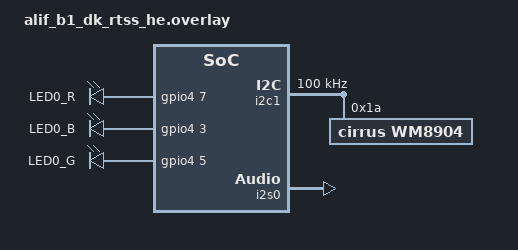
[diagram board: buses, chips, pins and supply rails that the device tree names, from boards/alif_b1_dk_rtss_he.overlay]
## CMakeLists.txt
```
# Copyright (C) 2025 Alif Semiconductor - All Rights Reserved.
# Use, distribution and modification of this code is permitted under the
# terms stated in the Alif Semiconductor Software License Agreement
#
# You should have received a copy of the Alif Semiconductor Software
# License Agreement with this file. If not, please write to:
# contact@alifsemi.com, or visit: https://alifsemi.com/license

cmake_minimum_required(VERSION 3.20.0)
find_package(Zephyr REQUIRED HINTS $ENV{ZEPHYR_BASE})
project(le_audio_unicast_source)

target_sources(app PRIVATE
    src/main.c
    src/unicast_source.c
    src/storage.c
    src/audio_datapath.c
    src/scan.c
)
```

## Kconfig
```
# Copyright (C) 2025 Alif Semiconductor - All Rights Reserved.
# Use, distribution and modification of this code is permitted under the
# terms stated in the Alif Semiconductor Software License Agreement
#
# You should have received a copy of the Alif Semiconductor Software
# License Agreement with this file. If not, please write to:
# contact@alifsemi.com, or visit: https://alifsemi.com/license

menu "Alif Bluetooth LE Audio Unicast Source"

config BLE_DEVICE_NAME
	string "BLE device name"
	default "ALIF_CIS_SRC"
	help
	  Device name

config PERIPHERAL_NAME
	string "LE audio peripheral name"
	default "ALIF_CIS_SINK"
	help
	  Audio sink peripheral to be connected to

config LE_AUDIO_PRESENTATION_DELAY_MS
	int "Presentation delay in ms"
	default 10
	help
	  LE audio preferred target presentation delay in ms. This is only the
	  target value and the final presentation delay may be different due
	  to the reported min and max values by the acceptor (server).

choice
	prompt "Choose audio target latency"
	default LE_AUDIO_LATENCY_RELIABLE

	config LE_AUDIO_LATENCY_LOWER
	bool "Lower latency"
	config LE_AUDIO_LATENCY_BALANCED
	bool "Balanced latency and reliability"
	config LE_AUDIO_LATENCY_RELIABLE
	bool "Reliable latency"
endchoice

config LE_AUDIO_TARGET_LATENCY
	int
	range 1 3
	default 1 if LE_AUDIO_LATENCY_LOWER
	default 2 if LE_AUDIO_LATENCY_BALANCED
	default 3 if LE_AUDIO_LATENCY_RELIABLE

choice
	prompt "Choose audio configuration"
	default LE_AUDIO_UNIDIRECTIONAL

	config LE_AUDIO_UNIDIRECTIONAL
	bool "Unidirectional"
	config LE_AUDIO_BIDIRECTIONAL
	bool "Bidirectional"
endchoice

config BONDING_ALLOWED
	bool "Allow bonding"
	default y

config NUMBER_OF_CLIENTS
	int
	range 1 4
	default 2
	help
	  Number of clients to be connected

menu "Logging"

module = MAIN
module-str = main
source "subsys/logging/Kconfig.template.log_config"

module = UNICAST_SCAN
module-str = unicast_scan
source "subsys/logging/Kconfig.template.log_config"

module = UNICAST_SOURCE
module-str = unicast_source
source "subsys/logging/Kconfig.template.log_config"

module = STORAGE
module-str = storage
source "subsys/logging/Kconfig.template.log_config"

endmenu # "Logging"

endmenu # "Alif Bluetooth LE Audio Unicast Source"

source "Kconfig.zephyr"
```

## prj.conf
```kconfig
# Copyright (C) 2025 Alif Semiconductor - All Rights Reserved.
# Use, distribution and modification of this code is permitted under the
# terms stated in the Alif Semiconductor Software License Agreement
#
# You should have received a copy of the Alif Semiconductor Software
# License Agreement with this file. If not, please write to:
# contact@alifsemi.com, or visit: https://alifsemi.com/license

CONFIG_BT=y
CONFIG_BT_CUSTOM=y
CONFIG_ALIF_ROM_LC3_CODEC=y
CONFIG_ALIF_BLE_AUDIO=y

CONFIG_LOG=y
CONFIG_ASSERT=y

CONFIG_PRESENTATION_COMPENSATION_DIRECTION_SOURCE=y

# Should be replaced by TRNG when support is available
CONFIG_ENTROPY_GENERATOR=y
CONFIG_TEST_RANDOM_GENERATOR=y

# malloc support is required, simplest way is using newlib although it would also be possible to
# configure heap for picolibc
CONFIG_NEWLIB_LIBC=y

# Driver support for audio
CONFIG_I2S=y
CONFIG_DMA=y

# Audio driver support specific to B1 DK board.
# Audio codec is WM8904, connected via I2C.
CONFIG_I2C=y
CONFIG_WM8904=y
CONFIG_AUDIO=y
CONFIG_AUDIO_CODEC=y
CONFIG_I2C_INIT_PRIORITY=50
CONFIG_WM8904_INIT_PRIORITY=53

# This is specific to whichever clock you use. Currently presentation layer is
# commented out so this does nothing
CONFIG_AUDIO_CLOCK_DIVIDER=1

# Debug
CONFIG_USE_SEGGER_RTT=y
CONFIG_RTT_CONSOLE=y

CONFIG_MAIN_STACK_SIZE=8192
CONFIG_ISR_STACK_SIZE=4096
CONFIG_PRIVILEGED_STACK_SIZE=2048
CONFIG_IDLE_STACK_SIZE=1024
CONFIG_BOOT_BANNER=n
CONFIG_ALIF_BLE_HOST_ADDL_PRF_HEAPSIZE=10240
CONFIG_ALIF_BLE_HOST_ADDL_ENV_HEAPSIZE=8192

# Enable NVS as the backend for Settings
CONFIG_NVS=y
# Enable the Settings subsystem
CONFIG_SETTINGS=y
CONFIG_SETTINGS_NVS=y
CONFIG_SETTINGS_RUNTIME=y
CONFIG_MPU_ALLOW_FLASH_WRITE=y
CONFIG_FLASH=y
CONFIG_FLASH_MAP=y

CONFIG_LE_AUDIO_LATENCY_RELIABLE=y
CONFIG_LE_AUDIO_PRESENTATION_DELAY_MS=30

# For MRAM(XIP) builds with LLVM exception tables cause linker errors as part of the code is placed to TCM
CONFIG_EXCEPTIONS=n
```

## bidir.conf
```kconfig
# Copyright (C) 2025 Alif Semiconductor - All Rights Reserved.
# Use, distribution and modification of this code is permitted under the
# terms stated in the Alif Semiconductor Software License Agreement
#
# You should have received a copy of the Alif Semiconductor Software
# License Agreement with this file. If not, please write to:
# contact@alifsemi.com, or visit: https://alifsemi.com/license

CONFIG_LE_AUDIO_BIDIRECTIONAL=y
```

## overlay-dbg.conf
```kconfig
# Copyright (C) 2025 Alif Semiconductor - All Rights Reserved.
# Use, distribution and modification of this code is permitted under the
# terms stated in the Alif Semiconductor Software License Agreement
#
# You should have received a copy of the Alif Semiconductor Software
# License Agreement with this file. If not, please write to:
# contact@alifsemi.com, or visit: https://alifsemi.com/license

# CONFIG_LOG_MODE_IMMEDIATE=y

# ===============================================
# threads debug
CONFIG_THREAD_NAME=y
CONFIG_THREAD_ANALYZER=y
CONFIG_THREAD_ANALYZER_USE_PRINTK=y
CONFIG_THREAD_ANALYZER_AUTO=y
CONFIG_THREAD_ANALYZER_AUTO_INTERVAL=5

# ===============================================
# Adjust logging levels
CONFIG_MAIN_LOG_LEVEL_DBG=y
CONFIG_UNICAST_SOURCE_LOG_LEVEL_DBG=y
CONFIG_BLE_AUDIO_LOG_LEVEL_DBG=y
CONFIG_PRESENTATION_COMPENSATION_PRINT_STATS=y
```

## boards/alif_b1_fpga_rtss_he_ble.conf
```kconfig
# Copyright (C) 2025 Alif Semiconductor - All Rights Reserved.
# Use, distribution and modification of this code is permitted under the
# terms stated in the Alif Semiconductor Software License Agreement
#
# You should have received a copy of the Alif Semiconductor Software
# License Agreement with this file. If not, please write to:
# contact@alifsemi.com, or visit: https://alifsemi.com/license

# Audio clock is provided by SI570, connected via I2C using TCA9548 I2C mux.
CONFIG_SI570=y

CONFIG_I2C_TCA954X_ROOT_INIT_PRIO=51
CONFIG_I2C_TCA954X_CHANNEL_INIT_PRIO=52

# SI570 clock output is passed through a fixed /8 divider to create MCLK signal
CONFIG_AUDIO_CLOCK_DIVIDER=8

# 24 MHz FPGA bitstream is not fast enough to encode stereo
CONFIG_ALIF_BLE_AUDIO_SOURCE_MONO=y
```

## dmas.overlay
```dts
/* Copyright (C) 2025 Alif Semiconductor - All Rights Reserved.
 * Use, distribution and modification of this code is permitted under the
 * terms stated in the Alif Semiconductor Software License Agreement
 *
 * You should have received a copy of the Alif Semiconductor Software
 * License Agreement with this file. If not, please write to:
 * contact@alifsemi.com, or visit: https://alifsemi.com/license
 *
 */

#define I2S0_DMA_RX_CH  2
#define I2S0_DMA_RX_REQ 24
#define I2S0_DMA_TX_CH  3
#define I2S0_DMA_TX_REQ 28

&i2s0 {
	dmas = <&dma2 I2S0_DMA_RX_CH I2S0_DMA_RX_REQ>,
	       <&dma2 I2S0_DMA_TX_CH I2S0_DMA_TX_REQ>;
	dma-names = "rxdma", "txdma";
};
```

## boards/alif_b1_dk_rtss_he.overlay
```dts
/* Copyright (C) 2025 Alif Semiconductor - All Rights Reserved.
 * Use, distribution and modification of this code is permitted under the
 * terms stated in the Alif Semiconductor Software License Agreement
 *
 * You should have received a copy of the Alif Semiconductor Software
 * License Agreement with this file. If not, please write to:
 * contact@alifsemi.com, or visit: https://alifsemi.com/license
 *
 */

#include <dt-bindings/pinctrl/balletto-pinctrl.h>
#include <dt-bindings/i2c/i2c.h>
#include <dt-bindings/gpio/gpio.h>

#define I2S0_IRQ_NUM  141
#define I2S0_IRQ_PRIO 3

/ {
	aliases {
		/delete-property/ sw0;

		audio-codec = &wm8904;
		i2s-bus = &i2s0;
	};

	/* /delete-node/ buttons; */

	leds {
		compatible = "gpio-leds";
		led_red: led_0 {
			gpios = <&gpio4 7 0>;
			label = "LED0_R";
		};
		led_blue: led_1 {
			gpios = <&gpio4 3 0>;
			label = "LED0_B";
		};
		led_green: led_2 {
			gpios = <&gpio4 5 0>;
			label = "LED0_G";
		};
	};
};

&dma2 {
	status = "okay";
};

&i2c1 {
	clock-frequency = <I2C_BITRATE_STANDARD>;
	status = "okay";

	wm8904: wm8904@1a {
		compatible = "cirrus,wm8904";
		reg = <0x1a>;
		status = "okay";
	};
};

&i2s0 {
	/delete-property/ clock-frequency;
	/delete-property/ driver_instance;
	compatible = "alif,i2s-sync";
	interrupts = <I2S0_IRQ_NUM I2S0_IRQ_PRIO>;
	bit-depth = <16>;
	sample-rate = <48000>;
	status = "okay";
};

&pinctrl_i2c1 {
	group0 {
		pinmux = <PIN_P7_2__I2C1_SDA_C>,
			 <PIN_P7_3__I2C1_SCL_C>;
	};
};

&pinctrl_i2s0 {
	group0 {
		pinmux = <PIN_P2_4__I2S0_SDI_B>,
			 <PIN_P2_5__I2S0_SDO_B>,
			 <PIN_P1_7__I2S0_WS_A>,
			 <PIN_P1_6__I2S0_SCLK_A>;
	};
};

/* Jouystick middle button */
&pinctrl_gpio5 {
	group1 {
		pinmux = <PIN_P5_7__GPIO>;
		driver_state_control = <1>;
		read_enable = < 0x1 >;
	};
};

/* LED GPIOs */
&pinctrl_gpio4 {
	group1 {
		pinmux = <PIN_P4_3__GPIO>,
			 <PIN_P4_5__GPIO>,
			 <PIN_P4_7__GPIO>;
		read_enable = < 0x0 >;
		drive_strength = < 8 >;
	};
};

/* Disable unnecessary nodes */
&uart_ahi {
	status = "disabled";
};

&i2s1 {
	status = "disabled";
};

&i2s2 {
	status = "disabled";
};
```

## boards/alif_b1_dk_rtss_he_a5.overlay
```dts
/* Copyright Alif Semiconductor - All Rights Reserved.
 * Use, distribution and modification of this code is permitted under the
 * terms stated in the Alif Semiconductor Software License Agreement
 *
 * You should have received a copy of the Alif Semiconductor Software
 * License Agreement with this file. If not, please write to:
 * contact@alifsemi.com, or visit: https://alifsemi.com/license
 *
 */

#include <dt-bindings/pinctrl/balletto-pinctrl.h>
#include <dt-bindings/i2c/i2c.h>
#include <dt-bindings/gpio/gpio.h>

#define I2S0_IRQ_NUM  141
#define I2S0_IRQ_PRIO 3

/ {
	aliases {
		/delete-property/ sw0;

		audio-codec = &wm8904;
		i2s-bus = &i2s0;
	};

	/* /delete-node/ buttons; */

	leds {
		compatible = "gpio-leds";
		led_red: led_0 {
			gpios = <&gpio4 7 0>;
			label = "LED0_R";
		};
		led_blue: led_1 {
			gpios = <&gpio4 3 0>;
			label = "LED0_B";
		};
		led_green: led_2 {
			gpios = <&gpio4 5 0>;
			label = "LED0_G";
		};
	};
};

&dma2 {
	status = "okay";
};

&i2c1 {
	clock-frequency = <I2C_BITRATE_STANDARD>;
	status = "okay";

	wm8904: wm8904@1a {
		compatible = "cirrus,wm8904";
		reg = <0x1a>;
		status = "okay";
	};
};

&i2s0 {
	/delete-property/ clock-frequency;
	/delete-property/ driver_instance;
	compatible = "alif,i2s-sync";
	interrupts = <I2S0_IRQ_NUM I2S0_IRQ_PRIO>;
	bit-depth = <16>;
	sample-rate = <48000>;
	status = "okay";
};

&pinctrl_i2c1 {
	group0 {
		pinmux = <PIN_P7_2__I2C1_SDA_C>,
			 <PIN_P7_3__I2C1_SCL_C>;
	};
};

&pinctrl_i2s0 {
	group0 {
		pinmux = <PIN_P2_4__I2S0_SDI_B>,
			 <PIN_P2_5__I2S0_SDO_B>,
			 <PIN_P1_7__I2S0_WS_A>,
			 <PIN_P1_6__I2S0_SCLK_A>;
	};
};

/* Jouystick middle button */
&pinctrl_gpio5 {
	group1 {
		pinmux = <PIN_P5_7__GPIO>;
		driver_state_control = <1>;
		read_enable = < 0x1 >;
	};
};

/* LED GPIOs */
&pinctrl_gpio4 {
	group1 {
		pinmux = <PIN_P4_3__GPIO>,
			 <PIN_P4_5__GPIO>,
			 <PIN_P4_7__GPIO>;
		read_enable = < 0x0 >;
		drive_strength = < 8 >;
	};
};

/* Disable unnecessary nodes */
&uart_ahi {
	status = "disabled";
};

&i2s1 {
	status = "disabled";
};

&i2s2 {
	status = "disabled";
};
```

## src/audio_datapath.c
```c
/* Copyright (C) 2025 Alif Semiconductor - All Rights Reserved.
 * Use, distribution and modification of this code is permitted under the
 * terms stated in the Alif Semiconductor Software License Agreement
 *
 * You should have received a copy of the Alif Semiconductor Software
 * License Agreement with this file. If not, please write to:
 * contact@alifsemi.com, or visit: https://alifsemi.com/license
 */

#include <zephyr/types.h>
#include <zephyr/device.h>
#include <zephyr/logging/log.h>
#include <zephyr/audio/codec.h>
#include "bluetooth/le_audio/audio_decoder.h"
#include "bluetooth/le_audio/audio_encoder.h"

#include "audio_datapath.h"

#if CONFIG_ALIF_BLE_AUDIO_USE_RAMFUNC
#define INT_RAMFUNC __ramfunc
#else
#define INT_RAMFUNC
#endif

LOG_MODULE_REGISTER(audio_datapath, CONFIG_BLE_AUDIO_LOG_LEVEL);

struct audio_datapath {
	const struct device *i2s_dev;
	struct audio_encoder *encoder;
	struct audio_decoder *decoder;
};

static struct audio_datapath env;

/* Initialisation to perform pre-main */
static int unicast_audio_path_init(void)
{
	int ret;

	/* Check all devices are ready */
	ret = device_is_ready(DEVICE_DT_GET(I2S_NODE));
	if (!ret) {
		LOG_ERR("I2S is not ready");
		return -1;
	}

	ret = device_is_ready(DEVICE_DT_GET(CODEC_NODE));
	if (!ret) {
		LOG_ERR("Audio codec is not ready");
		return -1;
	}

	return 0;
}
SYS_INIT(unicast_audio_path_init, APPLICATION, 0);

#if ENCODER_DEBUG
INT_RAMFUNC static void on_encoder_frame_complete(void *param, uint32_t timestamp, uint16_t sdu_seq)
{
	if ((sdu_seq % 128) == 0) {
		LOG_INF("SDU sequence number: %u", sdu_seq);
	}
}
#endif

#if DECODER_DEBUG
INT_RAMFUNC static void print_sdus(void *context, uint32_t timestamp, uint16_t sdu_seq)
{
	static uint16_t last_sdu;

	if (last_sdu && (last_sdu + 1 < sdu_seq)) {
		LOG_INF("SDU sequence number jumps, last: %u, now: %u", last_sdu, sdu_seq);
	}
	last_sdu = sdu_seq;

	if (0 == (sdu_seq % 128)) {
		LOG_INF("SDU sequence number %u", sdu_seq);
	}
}
#endif

int audio_datapath_create_source(struct audio_datapath_config const *const cfg)
{
	if (cfg == NULL) {
		return -EINVAL;
	}

	if (env.encoder) {
		/* TODO reconfigure encoder? */

		return -EALREADY;
	}

	int ret;
	struct audio_encoder_params const enc_params = {
		.i2s_dev = DEVICE_DT_GET(I2S_NODE),
		.frame_duration_us = cfg->frame_duration_is_10ms ? 10000 : 7500,
		.sampling_rate_hz = cfg->sampling_rate_hz,
		.audio_buffer_len_us = cfg->pres_delay_us,
	};
	/* clang-format off */
	struct audio_codec_cfg codec_cfg = {
		.dai_type = AUDIO_DAI_TYPE_I2S,
		.dai_cfg = {
			.i2s = {
				.word_size = AUDIO_PCM_WIDTH_16_BITS,
				.channels = 2,
				.format = I2S_FMT_DATA_FORMAT_I2S,
				.options = 0,
				.frame_clk_freq = cfg->sampling_rate_hz,
				.mem_slab = NULL,
				.block_size = 0,
				.timeout = 0,
			},
		},
	};
	/* clang-format on */

	/* Configure codec */
	ret = audio_codec_configure(DEVICE_DT_GET(CODEC_NODE), &codec_cfg);
	if (ret) {
		LOG_ERR("Failed to configure source codec. err %d", ret);
		return ret;
	}
	audio_codec_start_output(DEVICE_DT_GET(CODEC_NODE));

	/* Remove old one and create a new */
	env.encoder = audio_encoder_create(&enc_params);
	if (env.encoder == NULL) {
		LOG_ERR("Failed to create audio encoder");
		return -ENOMEM;
	}

#if ENCODER_DEBUG
	ret = audio_encoder_register_cb(env.encoder, on_encoder_frame_complete, NULL);
	if (ret) {
		LOG_ERR("Failed to register encoder cb for stats, err %d", ret);
		return ret;
	}
#endif

	LOG_INF("Source audio datapath created");

	return 0;
}

int audio_datapath_channel_create_source(size_t const octets_per_frame, uint8_t const stream_lid)
{
	int ret = audio_encoder_add_channel(env.encoder, octets_per_frame, stream_lid);

	if (ret) {
		LOG_ERR("Stream %u creation failed. Err %d", stream_lid, ret);
		return ret;
	}
	return 0;
}

int audio_datapath_channel_start_source(uint8_t const stream_lid)
{
	int ret = audio_encoder_start_channel(env.encoder, stream_lid);

	if (ret) {
		LOG_ERR("Stream %u start failed. Err %d", stream_lid, ret);
		return ret;
	}
	return 0;
}

int audio_datapath_channel_stop_source(uint8_t const stream_lid)
{
	int ret = audio_encoder_stop_channel(env.encoder, stream_lid);

	if (ret) {
		LOG_ERR("Stream %u stop failed. Err %d", stream_lid, ret);
		return ret;
	}
	return 0;
}

int audio_datapath_cleanup_source(void)
{
	/* Stop encoder first as it references other modules */
	audio_encoder_delete(env.encoder);
	env.encoder = NULL;

	return 0;
}

int audio_datapath_create_sink(struct audio_datapath_config const *const cfg)
{
	if (!cfg) {
		return -EINVAL;
	}

	if (env.decoder) {
		/* TODO reconfigure decoder? */

		return -EALREADY;
	}

	struct audio_decoder_params const dec_params = {
		.i2s_dev = DEVICE_DT_GET(I2S_NODE),
		.frame_duration_us = cfg->frame_duration_is_10ms ? 10000 : 7500,
		.sampling_rate_hz = cfg->sampling_rate_hz,
		.pres_delay_us = cfg->pres_delay_us,
	};

	env.decoder = audio_decoder_create(&dec_params);

	if (!env.decoder) {
		LOG_ERR("Failed to create audio decoder");
		return -ENOMEM;
	}

#if DECODER_DEBUG
	ret = audio_decoder_register_cb(env.decoder, print_sdus, NULL);
	if (ret != 0) {
		LOG_ERR("Failed to register decoder cb, err %d", ret);
		return ret;
	}
#endif

	LOG_INF("Sink audio datapath created");

	return 0;
}

int audio_datapath_channel_create_sink(size_t const octets_per_frame, uint8_t const stream_lid)
{
	int ret = audio_decoder_add_channel(env.decoder, octets_per_frame, stream_lid);

	if (ret) {
		LOG_ERR("Failed to create stream %u, err %d", stream_lid, ret);
		return ret;
	}

	return 0;
}

int audio_datapath_channel_start_sink(uint8_t const stream_lid)
{
	int ret = audio_decoder_start_channel(env.decoder, stream_lid);

	if (ret) {
		LOG_ERR("Failed to start stream %u, err %d", stream_lid, ret);
		return ret;
	}

	return 0;
}

int audio_datapath_channel_stop_sink(uint8_t const stream_lid)
{
	int ret = audio_decoder_stop_channel(env.decoder, stream_lid);

	if (ret) {
		LOG_ERR("Failed to stop stream %u, err %d", stream_lid, ret);
		return ret;
	}

	return 0;
}

int audio_datapath_cleanup_sink(void)
{
	audio_decoder_delete(env.decoder);
	env.decoder = NULL;

	LOG_INF("Removed sink audio datapath");

	return 0;
}
```

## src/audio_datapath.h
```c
/* Copyright (C) 2025 Alif Semiconductor - All Rights Reserved.
 * Use, distribution and modification of this code is permitted under the
 * terms stated in the Alif Semiconductor Software License Agreement
 *
 * You should have received a copy of the Alif Semiconductor Software
 * License Agreement with this file. If not, please write to:
 * contact@alifsemi.com, or visit: https://alifsemi.com/license
 */

#ifndef _AUDIO_DATAPATH_H
#define _AUDIO_DATAPATH_H

#include <zephyr/types.h>

#define I2S_NODE   DT_ALIAS(i2s_bus)
#define CODEC_NODE DT_ALIAS(audio_codec)

typedef int (*audio_datapath_channel_create_t)(size_t octets_per_frame, uint8_t stream_lid);

typedef int (*audio_datapath_start_stop_channel_t)(uint8_t stream_lid);

/**
 * @brief Audio datapath configuration structure
 *
 * This structure is used to configure the audio datapath
 */
struct audio_datapath_config {
	/** Presentation delay in microseconds */
	uint32_t pres_delay_us;
	/** Sampling rate in Hz */
	uint32_t sampling_rate_hz;
	/** Frame duration is 10ms */
	bool frame_duration_is_10ms;
};

/**
 * @brief Create the audio source datapath
 *
 * This creates and configures all of the required elements to stream audio from Bluetooth LE to I2S
 *
 * @param cfg Desired configuration of the audio datapath
 *
 * @retval 0 if successful
 * @retval Negative error code on failure
 */
int audio_datapath_create_source(struct audio_datapath_config const *cfg);

/**
 * @brief Create the audio source datapath channel
 *
 * @param[in] octets_per_frame Number of data per frame
 * @param[in] stream_lid Stream local ID of the channel to be created
 *
 * @retval 0 if successful
 * @retval Negative error code on failure
 */
int audio_datapath_channel_create_source(size_t octets_per_frame, uint8_t stream_lid);

/**
 * @brief Start the audio source datapath
 *
 * Starts transmission of the first SDU over the ISO datapath,
 * which when transmitted starts off the operation of the rest of
 * the datapath.
 *
 * @param[in] stream_lid Stream local ID
 *
 * @retval 0 if successful
 * @retval Negative error code on failure
 */
int audio_datapath_channel_start_source(uint8_t stream_lid);

/**
 * @brief Stop the audio source datapath
 *
 * Stops transmission of the SDUs over the ISO datapath.
 *
 * @param[in] stream_lid Stream local ID
 *
 * @retval 0 if successful
 * @retval Negative error code on failure
 */
int audio_datapath_channel_stop_source(uint8_t stream_lid);

/**
 * @brief Clean up the audio source datapath
 *
 * This stops the audio source datapath and cleans up all elements created by
 * audio_datapath_create_source, freeing any allocated memory if necessary. After calling this
 * function, it is possible to create a new audio source datapath again using
 * audio_datapath_create_source.
 *
 * @retval 0 if successful
 * @retval Negative error code on failure
 */
int audio_datapath_cleanup_source(void);

/**
 * @brief Create the audio sink datapath
 *
 * This creates and configures all of the required elements to stream audio from I2S to Bluetooth LE
 *
 * @param cfg Desired configuration of the audio datapath
 *
 * @retval 0 if successful
 * @retval Negative error code on failure
 */
int audio_datapath_create_sink(struct audio_datapath_config const *cfg);

/**
 * @brief Create the audio sink datapath channel
 *
 * @param[in] octets_per_frame Number of data per frame
 * @param[in] stream_lid Stream local ID of the channel to be created
 *
 * @retval 0 if successful
 * @retval Negative error code on failure
 */
int audio_datapath_channel_create_sink(size_t octets_per_frame, uint8_t stream_lid);

/**
 * @brief Start the audio sink datapath channel
 *
 * Starts transmission of the first SDU over the ISO datapath,
 * which when transmitted starts off the operation of the rest of
 * the datapath.
 *
 * @param[in] stream_lid Stream local ID
 *
 * @retval 0 if successful
 * @retval Negative error code on failure
 */
int audio_datapath_channel_start_sink(uint8_t stream_lid);

/**
 * @brief Stop the audio sink datapath channel
 *
 * Stops transmission of the SDUs over the ISO datapath.
 *
 * @param[in] stream_lid Stream local ID
 *
 * @retval 0 if successful
 * @retval Negative error code on failure
 */
int audio_datapath_channel_stop_sink(uint8_t stream_lid);

/**
 * @brief Clean up the audio sink datapath
 *
 * This stops the audio sink datapath and cleans up all elements created by
 * audio_datapath_create_sink, freeing any allocated memory if necessary. After calling this
 * function, it is possible to create a new audio sink datapath again using
 * audio_datapath_create_sink.
 *
 * @retval 0 if successful
 * @retval Negative error code on failure
 */
int audio_datapath_cleanup_sink(void);

#endif /* _AUDIO_DATAPATH_H */
```

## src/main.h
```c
/* Copyright (C) 2025 Alif Semiconductor - All Rights Reserved.
 * Use, distribution and modification of this code is permitted under the
 * terms stated in the Alif Semiconductor Software License Agreement
 *
 * You should have received a copy of the Alif Semiconductor Software
 * License Agreement with this file. If not, please write to:
 * contact@alifsemi.com, or visit: https://alifsemi.com/license
 */

#ifndef _MAIN_H
#define _MAIN_H

#include "gap.h"

/**
 * @brief Set the red LED state.
 *
 * @param state true to turn on the LED, false to turn it off.
 */
void set_red_led(bool state);

/**
 * @brief Set the blue LED state.
 *
 * @param state true to turn on the LED, false to turn it off.
 */
void set_blue_led(bool state);

/**
 * @brief Set the green LED state.
 *
 * @param state true to turn on the LED, false to turn it off.
 */
void set_green_led(bool state);

/**
 * @brief Indicate that a peer is found.
 *
 * @param p_addr The address of the peer device.
 * @return int 0 on success, negative error code on failure.
 */
int peer_found(gap_bdaddr_t const *const p_addr);

/**
 * @brief Indicate that a peer is ready.
 *
 * @param conidx The connection index of the peer.
 * @return int 0 on success, negative error code on failure.
 */
int peer_ready(uint32_t conidx);

#endif /* _MAIN_H */
```

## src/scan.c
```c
/* Copyright (C) 2025 Alif Semiconductor - All Rights Reserved.
 * Use, distribution and modification of this code is permitted under the
 * terms stated in the Alif Semiconductor Software License Agreement
 *
 * You should have received a copy of the Alif Semiconductor Software
 * License Agreement with this file. If not, please write to:
 * contact@alifsemi.com, or visit: https://alifsemi.com/license
 */

#include <zephyr/kernel.h>
#include <zephyr/logging/log.h>
#include "gaf_scan.h"
#include "gap_le.h"
#include "gapm.h"
#include "scan.h"
#include "main.h"

#define SCAN_DURATION_SEC 10
/** See enum gaf_scan_cfg_bf for more information */
#define SCAN_CONFIG_BITS  (GAF_SCAN_CFG_ASCS_REQ_BIT /*| GAF_SCAN_CFG_TMAS_REQ_BIT*/)

LOG_MODULE_REGISTER(scan, CONFIG_UNICAST_SCAN_LOG_LEVEL);

/** Peripheral info */
struct peripheral {
	sys_snode_t node;
	/** Pointer to device address */
	gap_bdaddr_t addr;
	/** Device name */
	char device_name[32];
	/** Pointer to RSI value */
	atc_csis_rsi_t rsi;
	/** Info flag bits */
	uint8_t info_flags;
};

static sys_slist_t scan_results;
static bool scan_ongoing;
static scanning_ready_callback_t scanning_ready_cb;

const char peripheral_name[] = CONFIG_PERIPHERAL_NAME;

const char *bdaddr_str(const gap_bdaddr_t * const p_addr)
{
	static char addr_str[32];

	snprintk(addr_str, sizeof(addr_str), "%02X:%02X:%02X:%02X:%02X:%02X (%u)", p_addr->addr[5],
		 p_addr->addr[4], p_addr->addr[3], p_addr->addr[2], p_addr->addr[1],
		 p_addr->addr[0], p_addr->addr_type);
	return addr_str;
}

static void *get_peripheral_by_bdaddr(gap_bdaddr_t const *const p_addr)
{
	if (!p_addr) {
		return NULL;
	}

	struct peripheral *peripheral;
	sys_snode_t *node = NULL;

	SYS_SLIST_ITERATE_FROM_NODE(&scan_results, node)
	{
		peripheral = (struct peripheral *)node;
		if (!memcmp(peripheral->addr.addr, p_addr->addr, sizeof(p_addr->addr))) {
			return peripheral;
		}
	}

	return NULL;
}

/* ---------------------------------------------------------------------------------------- */
/** GAF Client callbacks */

static void on_gaf_scanning_cb_cmp_evt(uint8_t const cmd_type, uint16_t const status)
{
	__ASSERT(status == GAF_ERR_NO_ERROR, "status %u, cmd_type %u", status, cmd_type);
	if (cmd_type == GAF_SCAN_CMD_TYPE_STOP) {
		LOG_INF("Scan stopped");
		set_blue_led(false);
		scan_ongoing = false;

		if (scanning_ready_cb) {
			scanning_ready_cb();
			scanning_ready_cb = NULL;
		}
	} else if (cmd_type == GAF_SCAN_CMD_TYPE_START) {
		LOG_INF("Scan started. Scanning for %u seconds", SCAN_DURATION_SEC);
		set_blue_led(true);
	} else {
		LOG_ERR("Unexpected GAF scanning command complete event: %u", cmd_type);
	}
}

static void on_gaf_scanning_cb_stopped(uint8_t const reason)
{
	static const char *const reason_str[] = {
		"Requested by Upper Layer",
		"Internal error",
		"Timeout",
	};

	LOG_DBG("GAF scanning stopped. Reason: %s",
		reason < ARRAY_SIZE(reason_str) ? reason_str[reason] : "??");

	if (reason == GAF_SCAN_STOP_REASON_UL) {
		return;
	}

	if (!sys_slist_is_empty(&scan_results)) {
		LOG_DBG("Scan results not empty. Not restarting scan");
		set_blue_led(false);
		scan_ongoing = false;
		if (scanning_ready_cb) {
			scanning_ready_cb();
			scanning_ready_cb = NULL;
		}
		return;
	}

	LOG_INF("restarting scan...");
	/* TODO / FIXME: Assert after 12 scan rounds! */
	uint16_t status = gaf_scan_start(SCAN_CONFIG_BITS, SCAN_DURATION_SEC, GAP_PHY_1MBPS);

	if (status != GAF_ERR_NO_ERROR) {
		__ASSERT(0, "Error %u starting scan", status);
		LOG_ERR("Failed to start scan. error %u", status);
		scan_ongoing = false;
	}
}

static void on_gaf_scanning_cb_report(const gap_bdaddr_t *p_addr, uint8_t const info_bf,
				      const gaf_adv_report_air_info_t *p_air_info,
				      uint8_t const flags, uint16_t const appearance,
				      uint16_t const tmap_roles, const atc_csis_rsi_t *p_rsi,
				      uint16_t const length, const uint8_t *p_data)
{
	const uint8_t *p_reported_name;
	uint8_t name_length = 0;

	p_reported_name =
		gapm_get_ltv_value(GAP_AD_TYPE_SHORTENED_NAME, length, p_data, &name_length);
	if (!p_reported_name) {
		p_reported_name =
			gapm_get_ltv_value(GAP_AD_TYPE_COMPLETE_NAME, length, p_data, &name_length);
	}

	if (!p_reported_name || !name_length) {
		return;
	}

	/* Check that peripheral name matches */
	if (memcmp(p_reported_name, peripheral_name, sizeof(peripheral_name) - 1)) {
		return;
	}

	/* Check if the peripheral is already on the list */
	struct peripheral *peripheral = get_peripheral_by_bdaddr(p_addr);

	if (peripheral) {
		/* Already on the list */
		return;
	}

	peripheral = malloc(sizeof(struct peripheral));
	if (!peripheral) {
		LOG_ERR("Failed to allocate memory for peripheral");
		return;
	}

	memcpy(peripheral->device_name, p_reported_name, name_length);
	peripheral->device_name[name_length] = 0;
	peripheral->addr = *p_addr;
	peripheral->info_flags = info_bf;

	if (info_bf & GAF_SCAN_REPORT_INFO_RSI_BIT) {
		memcpy(&peripheral->rsi, p_rsi, sizeof(peripheral->rsi));
	}

	LOG_INF("Device found, name: %s, addr: %s", peripheral->device_name,
		bdaddr_str(&peripheral->addr));

	sys_slist_append(&scan_results, &peripheral->node);
}

static void on_gaf_scanning_cb_announcement(const gap_bdaddr_t *const p_addr, uint8_t const type_bf,
					    uint32_t const context_bf,
					    const gaf_ltv_t *const p_metadata)
{
	const struct peripheral *const peripheral = get_peripheral_by_bdaddr(p_addr);

	if (!peripheral) {
		return;
	}

	LOG_INF("Announcement received for peripheral %s", peripheral->device_name);
	peer_found(p_addr);
}

static const struct gaf_scan_cb gaf_scan_callbacks = {
	.cb_cmp_evt = on_gaf_scanning_cb_cmp_evt,
	.cb_stopped = on_gaf_scanning_cb_stopped,
	.cb_report = on_gaf_scanning_cb_report,
	.cb_announcement = on_gaf_scanning_cb_announcement,
};

int unicast_source_scan_configure(void)
{
	sys_slist_init(&scan_results);

	uint16_t const err = gaf_scan_configure(&gaf_scan_callbacks);

	if (err != GAF_ERR_NO_ERROR) {
		LOG_ERR("GAF scanning configure error: %u", err);
		return -ENOEXEC;
	}

	LOG_DBG("Scan configured");
	return 0;
}

int unicast_source_scan_start(scanning_ready_callback_t const ready_cb)
{
	void *node = NULL;

	if (scan_ongoing) {
		return -EBUSY;
	}

	/* Cleanup the client list */
	while ((node = sys_slist_get(&scan_results))) {
		free(node);
	}

	scanning_ready_cb = ready_cb;

	uint16_t const err = gaf_scan_start(SCAN_CONFIG_BITS, SCAN_DURATION_SEC, GAP_PHY_1MBPS);

	if (err != GAF_ERR_NO_ERROR) {
		LOG_ERR("GAF scanning start error: %u", err);
		return -ENOEXEC;
	}

	scan_ongoing = true;

	return 0;
}

int unicast_source_scan_stop(void)
{
	if (!scan_ongoing) {
		return 0;
	}

	uint16_t const err = gaf_scan_stop();

	if (err != GAF_ERR_NO_ERROR) {
		LOG_ERR("GAF scanning stop error: %u", err);
		return -ENOEXEC;
	}

	return 0;
}
```

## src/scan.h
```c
/* Copyright (C) 2025 Alif Semiconductor - All Rights Reserved.
 * Use, distribution and modification of this code is permitted under the
 * terms stated in the Alif Semiconductor Software License Agreement
 *
 * You should have received a copy of the Alif Semiconductor Software
 * License Agreement with this file. If not, please write to:
 * contact@alifsemi.com, or visit: https://alifsemi.com/license
 */

 #ifndef _SCAN_H
#define _SCAN_H

/**
 * @brief Callback function type for scanning ready event.
 */
typedef void (*scanning_ready_callback_t)(void);

/**
 * @brief Configure scanning for LE audio devices
 *
 * @return 0 on success
 */
int unicast_source_scan_configure(void);

/**
 * @brief Start scanning for LE audio devices
 *
 * @return 0 on success
 */
int unicast_source_scan_start(scanning_ready_callback_t ready_cb);

/**
 * @brief Stop scanning for LE audio devices
 *
 * @return 0 on success
 */
int unicast_source_scan_stop(void);

#endif /* _SCAN_H */
```

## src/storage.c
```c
/* Copyright (C) 2025 Alif Semiconductor - All Rights Reserved.
 * Use, distribution and modification of this code is permitted under the
 * terms stated in the Alif Semiconductor Software License Agreement
 *
 * You should have received a copy of the Alif Semiconductor Software
 * License Agreement with this file. If not, please write to:
 * contact@alifsemi.com, or visit: https://alifsemi.com/license
 */

#include <zephyr/logging/log.h>
#include <zephyr/settings/settings.h>
#include <stdio.h>
#include "storage.h"

LOG_MODULE_REGISTER(storage, CONFIG_STORAGE_LOG_LEVEL);

struct storage_ctx {
	uint8_t *p_output;
	size_t size;
};

static int settings_direct_loader(const char *const key, size_t const len,
				  settings_read_cb const read_cb, void *cb_arg, void *param)
{
	struct storage_ctx *p_ctx = (struct storage_ctx *)param;

	/* Handle the subtree if it is an exact key match. */
	if (settings_name_next(key, NULL) == 0) {
		ssize_t const cb_len = read_cb(cb_arg, p_ctx->p_output, p_ctx->size);

		if (cb_len != p_ctx->size) {
			LOG_ERR("Unable to read bytes_written from storage");
			return cb_len;
		}
	}

	return 0;
}

int storage_init(void)
{
	static bool initialized;

	if (initialized) {
		return 0;
	}

	int err = settings_subsys_init();

	if (err) {
		LOG_ERR("settings_subsys_init() failed (err %d)", err);
		return err;
	}

	initialized = true;
	return 0;
}

int storage_store(const char *key, const int index, void *data, size_t const size)
{
	int err;
	char key_str[64];

	snprintf(key_str, sizeof(key_str), SETTINGS_BASE "/%s_%d", key, index);
	err = settings_save_one(key_str, data, size);
	if (err) {
		LOG_ERR("Failed to store %s data (err %d)", key, err);
	}
	return err;
}

int storage_load(const char *key, const int index, void *data, size_t const size)
{
	struct storage_ctx ctx = {
		.p_output = data,
		.size = size,
	};
	char key_str[64];

	snprintf(key_str, sizeof(key_str), SETTINGS_BASE "/%s_%d", key, index);

	int err = settings_load_subtree_direct(key_str, settings_direct_loader, &ctx);

	if (err) {
		LOG_ERR("Failed to load %s data (err %d)", key, err);
	}

	return err;
}
```

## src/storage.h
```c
/* Copyright (C) 2025 Alif Semiconductor - All Rights Reserved.
 * Use, distribution and modification of this code is permitted under the
 * terms stated in the Alif Semiconductor Software License Agreement
 *
 * You should have received a copy of the Alif Semiconductor Software
 * License Agreement with this file. If not, please write to:
 * contact@alifsemi.com, or visit: https://alifsemi.com/license
 */

#ifndef _STORAGE_H
#define _STORAGE_H

#include <stdint.h>

#define SETTINGS_BASE           "uc_central"
#define SETTINGS_NAME_KEYS      "bond_keys"
#define SETTINGS_NAME_BOND_DATA "bond_data"
#define SETTINGS_NAME_PEER      "peer"

/**
 * @brief Stores data in the flash memory.
 *
 * @param key Key string to identify the data.
 * @param data Pointer to the data to store.
 * @param size Size of the data.
 *
 * @return 0 on success, error code otherwise.
 */
int storage_init(void);

/**
 * @brief Stores data in the flash memory.
 *
 * @param key Key string to identify the data.
 * @param index Index of the data to store.
 * @param data Pointer to the data to store.
 * @param size Size of the data.
 *
 * @return 0 on success, error code otherwise.
 */
int storage_store(const char *key, int index, void *data, size_t size);

/**
 * @brief Loads data from the flash memory.
 *
 * @param key Key string to identify the data.
 * @param index Index of the data to load.
 * @param data Pointer to store the loaded data.
 * @param size Size of the data to load.
 *
 * @return 0 on success, error code otherwise.
 */
int storage_load(const char *key, int index, void *data, size_t size);

#endif /* _STORAGE_H */
```

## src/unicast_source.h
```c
/* Copyright (C) 2025 Alif Semiconductor - All Rights Reserved.
 * Use, distribution and modification of this code is permitted under the
 * terms stated in the Alif Semiconductor Software License Agreement
 *
 * You should have received a copy of the Alif Semiconductor Software
 * License Agreement with this file. If not, please write to:
 * contact@alifsemi.com, or visit: https://alifsemi.com/license
 */

#ifndef _UNICAST_SOURCE_H
#define _UNICAST_SOURCE_H

#include <stdint.h>

/**
 * @brief Configure the LE audio unicast source
 *
 * @return 0 on success
 */
int unicast_source_configure(void);

/**
 * @brief Start the service discovery
 *
 * @param con_lid Connection index
 *
 * @return 0 on success
 */
int unicast_source_discover(uint8_t con_lid);

/**
 * @brief Setup the streams for the LE audio unicast source
 *
 * @param con_lid Connection index
 *
 * @return 0 on success
 */
int unicast_setup_streams(uint8_t con_lid);

/**
 * @brief Enable the streams for the LE audio unicast source
 *
 * @param con_lid Connection index
 *
 * @return 0 on success
 */
int unicast_enable_streams(uint8_t con_lid);

#endif /* _UNICAST_SOURCE_H */
```
